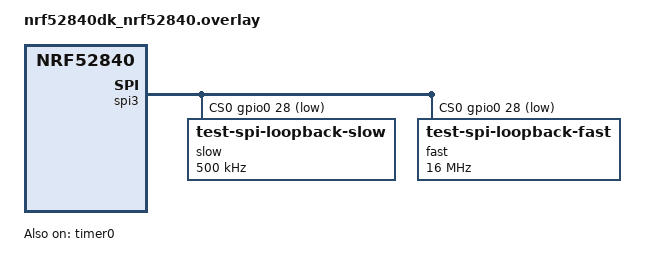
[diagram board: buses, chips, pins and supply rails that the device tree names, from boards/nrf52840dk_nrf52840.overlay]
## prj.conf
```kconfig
CONFIG_TEST=y
CONFIG_BOOT_BANNER=y
CONFIG_SPI=y
CONFIG_SPI_ASYNC=y
CONFIG_SPI_LOG_LEVEL_INF=y
CONFIG_ZTEST=y
CONFIG_ZTEST_THREAD_PRIORITY=1
CONFIG_CPU_LOAD=y
CONFIG_CPU_LOAD_USE_COUNTER=y
CONFIG_ASSERT=n
CONFIG_NRFX_GPPI=y
#CONFIG_NO_OPTIMIZATIONS=y
CONFIG_TIMING_FUNCTIONS=y
```

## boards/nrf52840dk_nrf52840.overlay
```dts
/*
 * Copyright (c) 2022 Nordic Semiconductor ASA
 *
 * SPDX-License-Identifier: Apache-2.0
 */

&spi3 {
	overrun-character = <0x00>;
	rx-delay = <1>;
	cs-gpios = <&gpio0 28 GPIO_ACTIVE_LOW>;
	zephyr,pm-device-runtime-auto;
	slow@0 {
		compatible = "test-spi-loopback-slow";
		reg = <0>;
		spi-max-frequency = <500000>;
	};
	fast@0 {
		compatible = "test-spi-loopback-fast";
		reg = <0>;
		spi-max-frequency = <16000000>;
	};
};

/ {
	chosen {
		zephyr,cpu-load-counter = &timer0;
	};
};

&timer0 {
	status = "okay";
	prescaler = <0>;
};
```

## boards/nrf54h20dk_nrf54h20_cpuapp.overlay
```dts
/*
 * Copyright (c) 2021 Nordic Semiconductor ASA
 *
 * SPDX-License-Identifier: LicenseRef-Nordic-5-Clause
 */

&pinctrl {
	spi130_default: spi130_default {
		group1 {
			psels = <NRF_PSEL(SPIM_SCK, 0, 0)>,
				<NRF_PSEL(SPIM_MISO, 0, 6)>,
				<NRF_PSEL(SPIM_MOSI, 0, 7)>;
		};
	};

	spi130_sleep: spi130_sleep {
		group1 {
			psels = <NRF_PSEL(SPIM_SCK, 0, 0)>,
				<NRF_PSEL(SPIM_MISO, 0, 6)>,
				<NRF_PSEL(SPIM_MOSI, 0, 7)>;
			low-power-enable;
		};
	};
};

&spi130 {
	status = "okay";
	pinctrl-0 = <&spi130_default>;
	pinctrl-1 = <&spi130_sleep>;
	pinctrl-names = "default", "sleep";
	overrun-character = <0x00>;
	memory-regions = <&cpuapp_dma_region>;
	rx-delay = <1>;
	slow@0 {
		compatible = "test-spi-loopback-slow";
		reg = <0>;
		spi-max-frequency = <DT_FREQ_K(500)>;
	};
	fast@0 {
		compatible = "test-spi-loopback-fast";
		reg = <0>;
		spi-max-frequency = <DT_FREQ_M(8)>;
	};
};

&gpio0 {
	status = "okay";
};
```

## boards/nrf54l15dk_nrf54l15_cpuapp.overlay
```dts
/*
 * Copyright (c) 2024 Nordic Semiconductor ASA
 *
 * SPDX-License-Identifier: Apache-2.0
 */

&pinctrl {
	spi00_default: spi00_default {
		group1 {
			psels = <NRF_PSEL(SPIM_MISO, 2, 9)>;
		};
		group2 {
			psels = <NRF_PSEL(SPIM_SCK, 2, 6)>,
				<NRF_PSEL(SPIM_MOSI, 2, 8)>;
			nordic,drive-mode = <NRF_DRIVE_E0E1>;
		};
	};
	spi22_default: spi22_default {
		group1 {
			psels = <NRF_PSEL(SPIM_MISO, 1, 11)>;
		};
		group2 {
			psels = <NRF_PSEL(SPIM_SCK, 1, 13)>,
				<NRF_PSEL(SPIM_MOSI, 1, 11)>;
			/*nordic,drive-mode = <NRF_DRIVE_E0E1>;*/
		};
	};

	spi00_sleep: spi00_sleep {
		group1 {
			psels = <NRF_PSEL(SPIM_SCK, 2, 6)>,
				<NRF_PSEL(SPIM_MISO, 2, 9)>,
				<NRF_PSEL(SPIM_MOSI, 2, 8)>;
			low-power-enable;
		};
	};
};

/delete-node/ &mx25r64;

&spi00 {
	status = "okay";
	pinctrl-0 = <&spi00_default>;
	pinctrl-1 = <&spi00_sleep>;
	pinctrl-names = "default", "sleep";
	overrun-character = <0x00>;
	zephyr,pm-device-runtime-auto;
	slow@0 {
		compatible = "test-spi-loopback-slow";
		reg = <0>;
		spi-max-frequency = <DT_FREQ_M(2)>;
	};
	dut_fast: fast@0 {
		compatible = "test-spi-loopback-fast";
		reg = <0>;
		spi-max-frequency = <DT_FREQ_M(4)>;
	};
};

&gpio2 {
	status = "okay";
};

/ {
	chosen {
		zephyr,cpu-load-counter = &timer20;
	};
};

&timer20 {
	status = "okay";
	prescaler = <0>;
};
```

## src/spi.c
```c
/*
 * Copyright 2025 NXP
 * Copyright (c) 2017 Intel Corporation.
 *
 * SPDX-License-Identifier: Apache-2.0
 */

/* To run this loopback test, connect MOSI pin to the MISO of the SPI */

/*
 ************************
 * Include dependencies *
 ************************
 */

#include <zephyr/ztest.h>
#include <zephyr/drivers/spi.h>
#include <zephyr/kernel.h>
#include <stdio.h>
#include <stdarg.h>

/*
 **********************
 * SPI configurations *
 **********************
 */

#define FRAME_SIZE COND_CODE_1(CONFIG_SPI_LOOPBACK_16BITS_FRAMES, (16), (8))
#define MODE_LOOP  COND_CODE_1(CONFIG_SPI_LOOPBACK_MODE_LOOP, (SPI_MODE_LOOP), (0))

#define SPI_OP(frame_size)                                                                         \
	SPI_OP_MODE_MASTER | SPI_MODE_CPOL | MODE_LOOP | SPI_MODE_CPHA |                           \
		SPI_WORD_SET(frame_size) | SPI_LINES_SINGLE

#define SPI_FAST_DEV DT_COMPAT_GET_ANY_STATUS_OKAY(test_spi_loopback_fast)
static struct spi_dt_spec spi_fast = SPI_DT_SPEC_GET(SPI_FAST_DEV, SPI_OP(FRAME_SIZE), 0);

#define SPI_SLOW_DEV DT_COMPAT_GET_ANY_STATUS_OKAY(test_spi_loopback_slow)
static struct spi_dt_spec spi_slow = SPI_DT_SPEC_GET(SPI_SLOW_DEV, SPI_OP(FRAME_SIZE), 0);

static struct spi_dt_spec *loopback_specs[2] = {&spi_slow, &spi_fast};
static char *spec_names[2] = {"SLOW", "FAST"};
static int spec_idx;

/*
 ********************
 * SPI test buffers *
 ********************
 */

#if CONFIG_NOCACHE_MEMORY
#define __NOCACHE	__attribute__((__section__(".nocache")))
#elif defined(CONFIG_DT_DEFINED_NOCACHE)
#define __NOCACHE	__attribute__((__section__(CONFIG_DT_DEFINED_NOCACHE_NAME)))
#else /* CONFIG_NOCACHE_MEMORY */
#define __NOCACHE
#endif /* CONFIG_NOCACHE_MEMORY */

#define BUF_SIZE 18
static const char tx_data[BUF_SIZE] = "0123456789abcdef-\0";
static __aligned(32) char buffer_tx[BUF_SIZE] __NOCACHE;
static __aligned(32) char buffer_rx[BUF_SIZE] __NOCACHE;

#define BUF2_SIZE 36
static const char tx2_data[BUF2_SIZE] = "Thequickbrownfoxjumpsoverthelazydog\0";
static __aligned(32) char buffer2_tx[BUF2_SIZE] __NOCACHE;
static __aligned(32) char buffer2_rx[BUF2_SIZE] __NOCACHE;

#define BUF3_SIZE CONFIG_SPI_LARGE_BUFFER_SIZE
static const char large_tx_data[BUF3_SIZE] = "Thequickbrownfoxjumpsoverthelazydog\0";
static __aligned(32) char large_buffer_tx[BUF3_SIZE] __NOCACHE;
static __aligned(32) char large_buffer_rx[BUF3_SIZE] __NOCACHE;

/*
 ********************
 * Helper functions *
 ********************
 */

/*
 * We need 5x(buffer size) + 1 to print a comma-separated list of each
 * byte in hex, plus a null.
 */
#define PRINT_BUF_SIZE(size) ((size * 5) + 1)

static uint8_t buffer_print_tx[PRINT_BUF_SIZE(BUF_SIZE)];
static uint8_t buffer_print_rx[PRINT_BUF_SIZE(BUF_SIZE)];

static uint8_t buffer_print_tx2[PRINT_BUF_SIZE(BUF2_SIZE)];
static uint8_t buffer_print_rx2[PRINT_BUF_SIZE(BUF2_SIZE)];

/* function for displaying the data in the buffers */
static void to_display_format(const uint8_t *src, size_t size, char *dst)
{
	size_t i;

	for (i = 0; i < size; i++) {
		sprintf(dst + 5 * i, "0x%02x,", src[i]);
	}
}

/* just a wrapper of the driver transceive call with ztest error assert */
static void spi_loopback_transceive(struct spi_dt_spec *const spec,
				    const struct spi_buf_set *const tx,
				    const struct spi_buf_set *const rx)
{
	int ret = spi_transceive_dt(spec, tx, rx);

	zassert_false(ret, "SPI transceive failed, code %d", ret);
}

/* The most spi buf currently used by any test case is 4, change if needed */
#define MAX_SPI_BUF_COUNT 4
struct spi_buf tx_bufs_pool[MAX_SPI_BUF_COUNT];
struct spi_buf rx_bufs_pool[MAX_SPI_BUF_COUNT];

/* A function for creating a spi_buf_set. Simply provide the spi_buf pool (either rx or tx),
 * the number of bufs that will be in the set, and then an ordered list of pairs of buf
 * pointer (void *) and buf size (size_t).
 */
static const struct spi_buf_set spi_loopback_setup_xfer(struct spi_buf *pool, size_t num_bufs, ...)
{
	struct spi_buf_set buf_set;

	zassert_true(num_bufs <= MAX_SPI_BUF_COUNT, "SPI xfer need more buf in test");
	zassert_true(pool == tx_bufs_pool || pool == rx_bufs_pool, "Invalid spi buf pool");

	va_list args;

	va_start(args, num_bufs);

	for (int i = 0; i < num_bufs; i++) {
		pool[i].buf = va_arg(args, void *);
		pool[i].len = va_arg(args, size_t);
	}

	va_end(args);

	buf_set.buffers = pool;
	buf_set.count = num_bufs;

	return buf_set;
}

/* compare two buffers and print fail if they are not the same */
static void spi_loopback_compare_bufs(const uint8_t *buf1, const uint8_t *buf2, size_t size,
				      uint8_t *printbuf1, uint8_t *printbuf2)
{
	if (memcmp(buf1, buf2, size)) {
		to_display_format(buf1, size, printbuf1);
		to_display_format(buf2, size, printbuf2);
		TC_PRINT("Buffer contents are different:\n %s\nvs:\n %s\n",
				buffer_print_tx, buffer_print_rx);
		ztest_test_fail();
	}
}

/*
 **************
 * Test cases *
 **************
 */

/* test transferring different buffers on the same dma channels */
ZTEST(spi_loopback, test_spi_complete_multiple)
{
	struct spi_dt_spec *spec = loopback_specs[spec_idx];
	const struct spi_buf_set tx = spi_loopback_setup_xfer(tx_bufs_pool, 2,
							      buffer_tx, BUF_SIZE,
							      buffer2_tx, BUF2_SIZE);
	const struct spi_buf_set rx = spi_loopback_setup_xfer(rx_bufs_pool, 2,
							      buffer_rx, BUF_SIZE,
							      buffer2_rx, BUF2_SIZE);

	spi_loopback_transceive(spec, &tx, &rx);

	spi_loopback_compare_bufs(buffer_tx, buffer_rx, BUF_SIZE,
				  buffer_print_tx, buffer_print_rx);
	spi_loopback_compare_bufs(buffer2_tx, buffer2_rx, BUF2_SIZE,
				  buffer_print_tx2, buffer_print_rx2);
}

#include <hal/nrf_gpio.h>
#include <zephyr/debug/cpu_load.h>
#include <zephyr/drivers/counter.h>
#include <nrfx_gpiote.h>
#include <helpers/nrfx_gppi.h>
static uint32_t tcyc;
#if CONFIG_SOC_NRF54L15
#define DBG_PIN0 (1*32+14)
#define DBG_PIN1 (2*32+7)
#define DBG_PIN2 (2*32+10)
#else
#define DBG_PIN0 (26)
#define DBG_PIN1 (27)
#define DBG_PIN2 (2)
#endif

static void dppi_setup(uint32_t pin, uint32_t eep)
{
	nrfx_gpiote_t gpiote = NRFX_GPIOTE_INSTANCE(20);
	uint8_t gch;
	if (nrfx_gpiote_channel_alloc(&gpiote, &gch)  != NRFX_SUCCESS) {
		printk("Failed to allocate GPIOTE channel.");
		return;
	}

	nrf_gpiote_task_configure(gpiote.p_reg, gch, pin,
				  NRF_GPIOTE_POLARITY_TOGGLE,
				  NRF_GPIOTE_INITIAL_VALUE_LOW);
	nrf_gpiote_task_enable(gpiote.p_reg, gch);
	uint32_t tep = nrf_gpiote_task_address_get(gpiote.p_reg, nrf_gpiote_out_task_get(gch));
	uint8_t gppi_ch = UINT8_MAX;

	if (NRFX_SUCCESS != nrfx_gppi_channel_alloc(&gppi_ch)) {
		printk("Failed to allocate GPPI channel.");
		return;
	}

	nrfx_gppi_channel_endpoints_setup(gppi_ch, eep, tep);
	nrfx_gppi_channels_enable(BIT(gppi_ch));
}

static const struct device *counter = COND_CODE_1(CONFIG_CPU_LOAD_USE_COUNTER,
				(DEVICE_DT_GET(DT_CHOSEN(zephyr_cpu_load_counter))), (NULL));

static volatile bool tout;
struct k_sem sem;
static void timeout(struct k_timer *timer)
{
	NRF_P2->OUTSET=BIT(10);
	k_sem_give(&sem);
	NRF_P2->OUTCLR=BIT(10);
}

K_TIMER_DEFINE(tmr, timeout, NULL);
static void start_load_measurement(void)
{
	uint32_t eep0 = (uint32_t)&NRF_SPIM00->EVENTS_END;
	uint32_t pin0 = 32 + 9;
	uint32_t eep1 = (uint32_t)&NRF_POWER->EVENTS_SLEEPEXIT;
	uint32_t pin1 = 32 + 11;
	dppi_setup(pin0, eep0);
	dppi_setup(pin1, eep1);

	NRF_POWER->TASKS_CONSTLAT=1;
	printk("c:%08x\n", NRF_RRAMC->POWER.LOWPOWERCONFIG);
	NRF_RRAMC->POWER.LOWPOWERCONFIG = 1;
	nrf_gpio_cfg_output(DBG_PIN0);
	nrf_gpio_cfg_output(DBG_PIN1);
	nrf_gpio_cfg_output(DBG_PIN2);
	k_sem_init(&sem, 0, 1);
	k_timer_start(&tmr, K_MSEC(5), K_NO_WAIT);
	k_sem_take(&sem, K_FOREVER);
	/*NRF_P2->OUTSET=BIT(7);*/
	(void)cpu_load_get(true);
	if (IS_ENABLED(CONFIG_CPU_LOAD_USE_COUNTER)) {
		counter_get_value(counter, &tcyc);
	} else {
		tcyc = k_cycle_get_32();
	}
}
static void stop_load_measurement(void)
{
	if (IS_ENABLED(CONFIG_CPU_LOAD_USE_COUNTER)) {
		uint32_t val;
		counter_get_value(counter, &val);
		tcyc = val - tcyc;
		tcyc = (uint32_t)counter_ticks_to_us(counter, tcyc);
	} else {
		tcyc = k_cycle_get_32() - tcyc;
		tcyc = k_cyc_to_us_floor32(tcyc);
	}
	/*NRF_P2->OUTCLR=BIT(7);*/
	uint32_t load = cpu_load_get(true);
	uint32_t active_time = tcyc * load / 1000;
	printk("1st transfer %d us (active time:%d), load:%d.%d\n",
			tcyc, active_time, load/ 10, load % 10);
}

bool in_test;
ZTEST(_spi_loopback, test_spi_complete_loop)
{
	struct spi_dt_spec *spec = loopback_specs[spec_idx];
	const struct spi_buf_set tx = spi_loopback_setup_xfer(tx_bufs_pool, 1,
							      buffer_tx, BUF_SIZE);
	const struct spi_buf_set rx = spi_loopback_setup_xfer(rx_bufs_pool, 1,
							      buffer_rx, BUF_SIZE);
	in_test=true;
	start_load_measurement();
	spi_loopback_transceive(spec, &tx, &rx);
	stop_load_measurement();

	spi_loopback_compare_bufs(buffer_tx, buffer_rx, BUF_SIZE,
				  buffer_print_tx, buffer_print_rx);

	start_load_measurement();
	spi_loopback_transceive(spec, &tx, &rx);
	stop_load_measurement();

	spi_loopback_compare_bufs(buffer_tx, buffer_rx, BUF_SIZE,
				  buffer_print_tx, buffer_print_rx);
}

ZTEST(spi_loopback, test_spi_null_tx_buf)
{
	struct spi_dt_spec *spec = loopback_specs[spec_idx];
	static const uint8_t expected_nop_return_buf[BUF_SIZE] = { 0 };
	const struct spi_buf_set tx = spi_loopback_setup_xfer(tx_bufs_pool, 1,
							      NULL, BUF_SIZE);
	const struct spi_buf_set rx = spi_loopback_setup_xfer(rx_bufs_pool, 1,
							      buffer_rx, BUF_SIZE);

	(void)memset(buffer_rx, 0x77, BUF_SIZE);

	spi_loopback_transceive(spec, &tx, &rx);

	spi_loopback_compare_bufs(expected_nop_return_buf, buffer_rx, BUF_SIZE,
				  buffer_print_rx, buffer_print_rx);
}

ZTEST(spi_loopback, test_spi_rx_half_start)
{
	struct spi_dt_spec *spec = loopback_specs[spec_idx];
	const struct spi_buf_set tx = spi_loopback_setup_xfer(tx_bufs_pool, 1,
							      buffer_tx, BUF_SIZE);
	const struct spi_buf_set rx = spi_loopback_setup_xfer(rx_bufs_pool, 1,
							      buffer_rx, 8);

	(void)memset(buffer_rx, 0, BUF_SIZE);

	spi_loopback_transceive(spec, &tx, &rx);

	spi_loopback_compare_bufs(buffer_tx, buffer_rx, 8,
				  buffer_print_tx, buffer_print_rx);
}

ZTEST(spi_loopback, test_spi_rx_half_end)
{
	if (IS_ENABLED(CONFIG_SPI_STM32_DMA)) {
		TC_PRINT("Skipped spi_rx_hald_end");
		return;
	}

	struct spi_dt_spec *spec = loopback_specs[spec_idx];
	const struct spi_buf_set tx = spi_loopback_setup_xfer(tx_bufs_pool, 1,
							      buffer_tx, BUF_SIZE);
	const struct spi_buf_set rx = spi_loopback_setup_xfer(rx_bufs_pool, 2,
							      NULL, 8,
							      buffer_rx, 8);

	(void)memset(buffer_rx, 0, BUF_SIZE);

	spi_loopback_transceive(spec, &tx, &rx);

	spi_loopback_compare_bufs(buffer_tx+8, buffer_rx, 8,
				  buffer_print_tx, buffer_print_rx);
}

ZTEST(spi_loopback, test_spi_rx_every_4)
{
	if (IS_ENABLED(CONFIG_SPI_STM32_DMA) || IS_ENABLED(CONFIG_DSPI_MCUX_EDMA)) {
		TC_PRINT("Skipped spi_rx_every_4");
		return;
	};

	struct spi_dt_spec *spec = loopback_specs[spec_idx];
	const struct spi_buf_set tx = spi_loopback_setup_xfer(tx_bufs_pool, 1,
							      buffer_tx, BUF_SIZE);
	const struct spi_buf_set rx = spi_loopback_setup_xfer(rx_bufs_pool, 4,
							      NULL, 4,
							      buffer_rx, 4,
							      NULL, 4,
							      buffer_rx+4, 4);

	(void)memset(buffer_rx, 0, BUF_SIZE);

	spi_loopback_transceive(spec, &tx, &rx);

	spi_loopback_compare_bufs(buffer_tx+4, buffer_rx, 4,
				  buffer_print_tx, buffer_print_rx);
	spi_loopback_compare_bufs(buffer_tx+12, buffer_rx+4, 4,
				  buffer_print_tx, buffer_print_rx);
}

ZTEST(spi_loopback, test_spi_rx_bigger_than_tx)
{
	if (IS_ENABLED(CONFIG_SPI_STM32_DMA) || IS_ENABLED(CONFIG_DSPI_MCUX_EDMA)) {
		TC_PRINT("Skipped spi_rx_bigger_than_tx");
		return;
	}

	struct spi_dt_spec *spec = loopback_specs[spec_idx];
	const uint32_t tx_buf_size = 8;

	BUILD_ASSERT(tx_buf_size < BUF_SIZE,
		"Transmit buffer is expected to be smaller than the receive buffer");

	const struct spi_buf_set tx = spi_loopback_setup_xfer(tx_bufs_pool, 1,
							      buffer_tx, tx_buf_size);
	const struct spi_buf_set rx = spi_loopback_setup_xfer(rx_bufs_pool, 1,
							      buffer_rx, BUF_SIZE);

	(void)memset(buffer_rx, 0xff, BUF_SIZE);

	spi_loopback_transceive(spec, &tx, &rx);

	spi_loopback_compare_bufs(buffer_tx, buffer_rx, tx_buf_size,
				  buffer_print_tx, buffer_print_rx);

	static const uint8_t all_zeroes_buf[BUF_SIZE] = {0};

	spi_loopback_compare_bufs(all_zeroes_buf, buffer_rx + tx_buf_size, BUF_SIZE - tx_buf_size,
				  buffer_print_tx, buffer_print_rx);
}

/* test transferring different buffers on the same dma channels */
ZTEST(spi_loopback, test_spi_complete_large_transfers)
{
	struct spi_dt_spec *spec = loopback_specs[spec_idx];
	const struct spi_buf_set tx = spi_loopback_setup_xfer(tx_bufs_pool, 1,
							      large_buffer_tx, BUF3_SIZE);
	const struct spi_buf_set rx = spi_loopback_setup_xfer(rx_bufs_pool, 1,
							      large_buffer_rx, BUF3_SIZE);

	spi_loopback_transceive(spec, &tx, &rx);

	zassert_false(memcmp(large_buffer_tx, large_buffer_rx, BUF3_SIZE),
			"Large Buffer contents are different");
}

ZTEST(spi_loopback, test_nop_nil_bufs)
{
	struct spi_dt_spec *spec = loopback_specs[spec_idx];
	const struct spi_buf_set tx = spi_loopback_setup_xfer(tx_bufs_pool, 1, NULL, 0);
	const struct spi_buf_set rx = spi_loopback_setup_xfer(rx_bufs_pool, 1, NULL, 0);

	spi_loopback_transceive(spec, &tx, &rx);

	/* nothing really to check here, check is done in spi_loopback_transceive */
}

#if (CONFIG_SPI_ASYNC)
static struct k_poll_signal async_sig = K_POLL_SIGNAL_INITIALIZER(async_sig);
static struct k_poll_event async_evt =
	K_POLL_EVENT_INITIALIZER(K_POLL_TYPE_SIGNAL,
				 K_POLL_MODE_NOTIFY_ONLY,
				 &async_sig);
static K_SEM_DEFINE(caller, 0, 1);
static K_SEM_DEFINE(start_async, 0, 1);
static int result = 1;

static void spi_async_call_cb(void *p1,
			      void *p2,
			      void *p3)
{
	ARG_UNUSED(p3);

	struct k_poll_event *evt = p1;
	struct k_sem *caller_sem = p2;

	TC_PRINT("Polling...");

	while (1) {
		k_sem_take(&start_async, K_FOREVER);

		zassert_false(k_poll(evt, 1, K_MSEC(2000)), "one or more events are not ready");

		result = evt->signal->result;
		k_sem_give(caller_sem);

		/* Reinitializing for next call */
		evt->signal->signaled = 0U;
		evt->state = K_POLL_STATE_NOT_READY;
	}
}

ZTEST(spi_loopback, test_spi_async_call)
{
	struct spi_dt_spec *spec = loopback_specs[spec_idx];
	const struct spi_buf_set tx = spi_loopback_setup_xfer(tx_bufs_pool, 3,
							      buffer_tx, BUF_SIZE,
							      buffer2_tx, BUF2_SIZE,
							      large_buffer_tx, BUF3_SIZE);
	const struct spi_buf_set rx = spi_loopback_setup_xfer(rx_bufs_pool, 3,
							      buffer_rx, BUF_SIZE,
							      buffer2_rx, BUF2_SIZE,
							      large_buffer_rx, BUF3_SIZE);

	memset(buffer_rx, 0, sizeof(buffer_rx));
	memset(buffer2_rx, 0, sizeof(buffer2_rx));
	memset(large_buffer_rx, 0, sizeof(large_buffer_rx));

	k_sem_give(&start_async);

	int ret = spi_transceive_signal(spec->bus, &spec->config, &tx, &rx, &async_sig);

	if (ret == -ENOTSUP) {
		TC_PRINT("Skipping ASYNC test");
		return;
	}

	zassert_false(ret, "SPI transceive failed, code %d", ret);

	k_sem_take(&caller, K_FOREVER);

	zassert_false(result, "SPI async transceive failed, result %d", result);

	spi_loopback_compare_bufs(buffer_tx, buffer_rx, BUF_SIZE,
				  buffer_print_tx, buffer_print_rx);
	spi_loopback_compare_bufs(buffer2_tx, buffer2_rx, BUF2_SIZE,
				  buffer_print_tx2, buffer_print_rx2);

	zassert_false(memcmp(large_buffer_tx, large_buffer_rx, BUF3_SIZE),
			"Large Buffer contents are different");
}
#endif

ZTEST(spi_extra_api_features, test_spi_lock_release)
{
	const struct spi_buf_set tx = spi_loopback_setup_xfer(tx_bufs_pool, 1,
							      buffer_tx, BUF_SIZE);
	const struct spi_buf_set rx = spi_loopback_setup_xfer(rx_bufs_pool, 1,
							      NULL, BUF_SIZE);
	struct spi_dt_spec *lock_spec = &spi_slow;
	struct spi_dt_spec *try_spec = &spi_fast;

	lock_spec->config.operation |= SPI_LOCK_ON;

	spi_loopback_transceive(lock_spec, &tx, &rx);

	zassert_false(spi_release_dt(lock_spec), "SPI release failed");

	spi_loopback_transceive(try_spec, &tx, &rx);

	lock_spec->config.operation &= ~SPI_LOCK_ON;
}

/*
 *************************
 * Test suite definition *
 *************************
 */

static void *spi_loopback_common_setup(void)
{
	memset(buffer_tx, 0, sizeof(buffer_tx));
	memcpy(buffer_tx, tx_data, sizeof(tx_data));
	memset(buffer2_tx, 0, sizeof(buffer2_tx));
	memcpy(buffer2_tx, tx2_data, sizeof(tx2_data));
	memset(large_buffer_tx, 0, sizeof(large_buffer_tx));
	memcpy(large_buffer_tx, large_tx_data, sizeof(large_tx_data));
	return NULL;
}

static void *spi_loopback_setup(void)
{
	printf("Testing loopback spec: %s\n", spec_names[spec_idx]);
	spi_loopback_common_setup();
	return NULL;
}

static void run_after_suite(void *unused)
{
	spec_idx++;
}

static void run_after_lock(void *unused)
{
	spi_release_dt(&spi_fast);
	spi_release_dt(&spi_slow);
	spi_slow.config.operation &= ~SPI_LOCK_ON;
	spi_fast.config.operation &= ~SPI_LOCK_ON;
}

ZTEST_SUITE(_spi_loopback, NULL, spi_loopback_setup, NULL, NULL, run_after_suite);
ZTEST_SUITE(_spi_extra_api_features, NULL, spi_loopback_common_setup, NULL, NULL, run_after_lock);

struct k_thread async_thread;
k_tid_t async_thread_id;
#define STACK_SIZE (512 + CONFIG_TEST_EXTRA_STACK_SIZE)
K_THREAD_STACK_DEFINE(spi_async_stack, STACK_SIZE);

#include <zephyr/timing/timing.h>
void test_main(void)
{
	timing_init();
	timing_start();
	printf("SPI test on buffers TX/RX %p/%p, frame size = %d"
#ifdef CONFIG_DMA
		", DMA enabled"
#ifndef CONFIG_NOCACHE_MEMORY
		" (without CONFIG_NOCACHE_MEMORY)"
#endif
#endif /* CONFIG_DMA */
			"\n",
			buffer_tx,
			buffer_rx,
			FRAME_SIZE);

#if (CONFIG_SPI_ASYNC)
	async_thread_id = k_thread_create(&async_thread,
					  spi_async_stack, STACK_SIZE,
					  spi_async_call_cb,
					  &async_evt, &caller, NULL,
					  K_PRIO_COOP(7), 0, K_NO_WAIT);
#endif

	ztest_run_all(NULL, false, ARRAY_SIZE(loopback_specs), 1);

#if (CONFIG_SPI_ASYNC)
	k_thread_abort(async_thread_id);
#endif

	ztest_verify_all_test_suites_ran();
}
```
